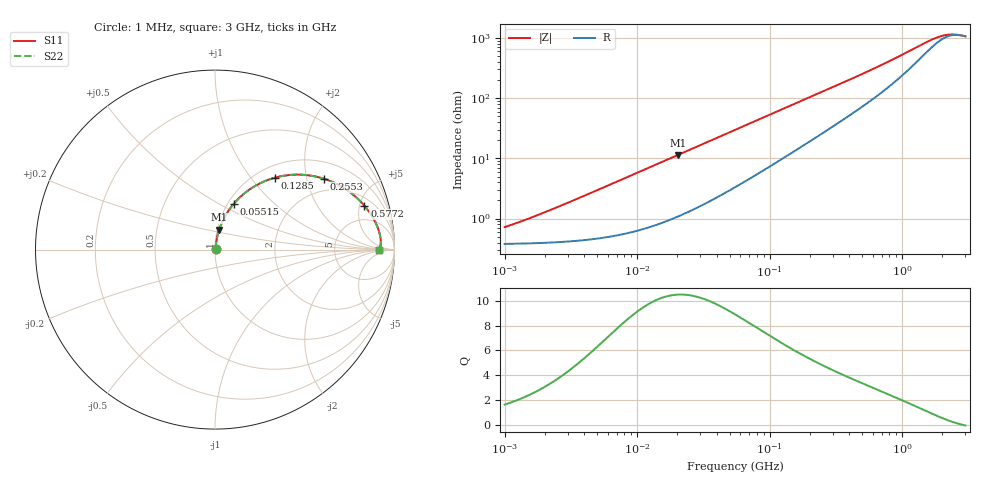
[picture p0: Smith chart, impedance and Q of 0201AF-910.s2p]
!AWR Design Environment (3650) Fri Oct 20 16:01:34 2017
!freq-unit  param-type  data-format  keyword  impedance-ohms
# MHz  S  MA  R  50
!Freq  MagS11  AngS11  MagS21  AngS21  MagS12  AngS12  MagS22  AngS22
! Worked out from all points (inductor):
!   806 points, 1 MHz to 3 GHz, reference 50 ohm
!   read as one part in series: L = 95.2 nH near 1.967 MHz
!   highest Q = 10.5 at 20.39 MHz (marker M1), where L = 89 nH
!   self-resonance near 2.845 GHz
!   S11 on the Smith chart (normalised r, x): 1 MHz: 1.01, +0.01; 55.15 MHz: 1.07, +0.59; 128.5 MHz: 1.21, +1.33; 255.3 MHz: 1.54, +2.56; 577.2 MHz: 2.81, +5.57; 3 GHz: 22, -1
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1  0.007195 58.0  0.9962 -0.4  0.9962 -0.4  0.007195 58.0
1.694466  0.01093 68.6  0.9961 -0.6  0.9961 -0.6  0.01093 68.6
3.831647  0.02293 77.8  0.9954 -1.3  0.9954 -1.3  0.02293 77.8
8.001421  0.04619 80.5  0.9934 -2.6  0.9934 -2.6  0.04619 80.5
14.53616  0.08168 79.7  0.9887 -4.7  0.9887 -4.7  0.08168 79.7
20.38808  0.1125 78.1  0.983 -6.4  0.983 -6.4  0.1125 78.1
35.5937  0.1888 73.4  0.9633 -10.8  0.9633 -10.8  0.1888 73.4
55.14595  0.2779 67.6  0.9301 -16.0  0.9301 -16.0  0.2779 67.6
83.75511  0.3896 59.9  0.8721 -22.7  0.8721 -22.7  0.3896 59.9
128.4785  0.5232 50.1  0.7761 -31.1  0.7761 -31.1  0.5232 50.1
164.7649  0.6021 43.9  0.7029 -36.4  0.7029 -36.4  0.6021 43.9
209.2077  0.6728 37.8  0.6241 -41.4  0.6241 -41.4  0.6728 37.8
255.2732  0.7254 32.9  0.5551 -45.2  0.5551 -45.2  0.7254 32.9
383.8677  0.8109 23.8  0.4168 -51.7  0.4168 -51.7  0.8109 23.8
577.2419  0.8676 16.4  0.2964 -55.6  0.2964 -55.6  0.8676 16.4
793.6734  0.8962 11.7  0.2192 -56.0  0.2192 -56.0  0.8962 11.7
1102.166  0.9146 7.8  0.1552 -52.8  0.1552 -52.8  0.9146 7.8
1576.945  0.924 4.3  0.1044 -41.2  0.1044 -41.2  0.924 4.3
1924.173  0.9246 2.6  0.08727 -29.0  0.08727 -29.0  0.9246 2.6
2146.739  0.9235 1.8  0.08222 -20.7  0.08222 -20.7  0.9235 1.8
2371.335  0.9217 1.1  0.08048 -12.9  0.08048 -12.9  0.9217 1.1
3000  0.9144 -0.3  0.08572 3.1  0.08572 3.1  0.9144 -0.3
